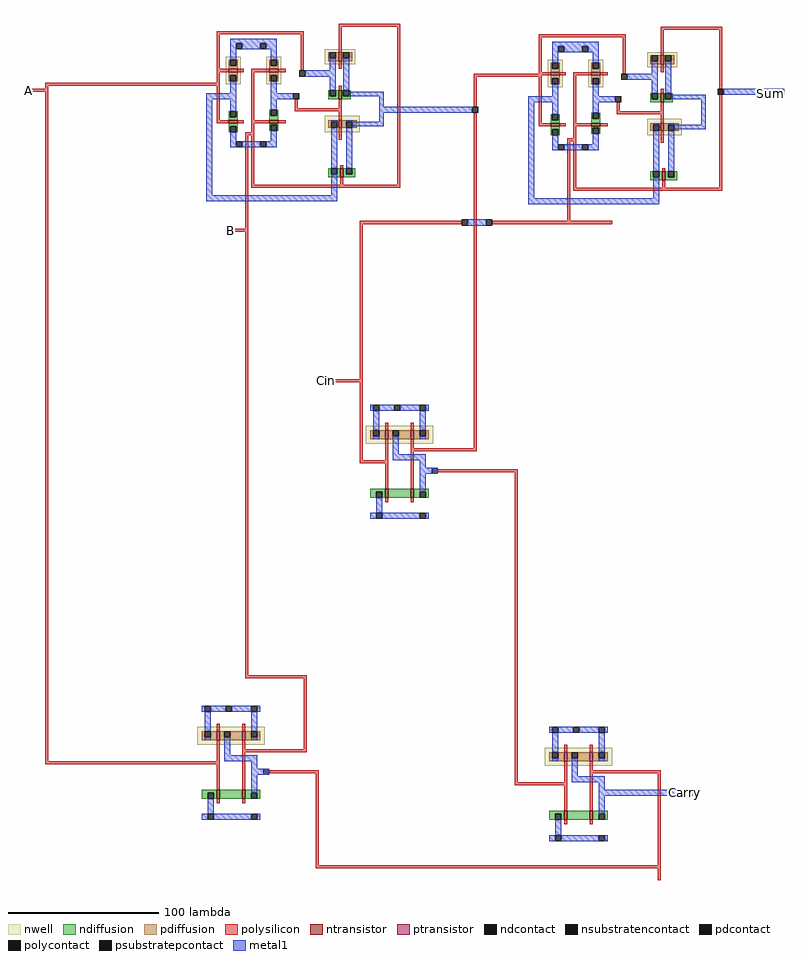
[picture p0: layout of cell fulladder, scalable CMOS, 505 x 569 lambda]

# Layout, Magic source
magic
tech scmos
<< polysilicon >>
rect 157 70 202 72
rect -128 64 -12 66
rect -128 62 -126 64
rect -142 60 -126 62
rect -128 -385 -126 60
rect 157 50 159 70
rect 5 31 11 33
rect 5 -31 7 31
rect -8 -33 7 -31
rect 5 -328 7 -33
rect 81 -28 149 -26
rect 81 -131 83 -28
rect 58 -133 83 -131
rect 81 -185 83 -133
rect 157 -177 159 46
rect 219 27 225 29
rect 219 -26 221 27
rect 169 -28 249 -26
rect 126 -179 159 -177
rect 81 -187 90 -185
rect 133 -193 186 -191
rect 5 -330 46 -328
rect 44 -377 46 -330
rect 12 -379 46 -377
rect -128 -387 -12 -385
rect 21 -393 54 -391
rect 52 -454 54 -393
rect 184 -399 186 -193
rect 243 -393 281 -391
rect 184 -401 212 -399
rect 279 -454 281 -393
rect 52 -456 281 -454
rect 279 -464 281 -456
<< metal1 >>
rect 323 58 363 62
rect 96 49 156 50
rect 94 46 156 49
rect 153 -29 165 -25
rect 249 -408 307 -404
<< polycontact >>
rect 319 58 323 62
rect 156 46 160 50
rect 149 -29 153 -25
rect 165 -29 169 -25
rect 129 -194 133 -190
rect 17 -394 21 -390
use xor1  xor1_0
transform 1 0 12 0 1 67
box -33 -80 96 38
use xor1  xor1_1
transform 1 0 226 0 1 65
box -33 -80 96 38
use nand1  nand1_0
transform 1 0 106 0 1 -183
box -21 -41 27 35
use nand1  nand1_1
transform 1 0 -6 0 1 -383
box -21 -41 27 35
use nand1  nand1_2
transform 1 0 225 0 1 -397
box -21 -41 27 35
<< labels >>
rlabel polysilicon 59 -132 59 -132 1 Cin
rlabel polysilicon -139 61 -139 61 3 A
rlabel polysilicon -5 -32 -5 -32 1 B
rlabel metal1 354 59 354 59 1 Sum
rlabel metal1 297 -406 297 -406 1 Carry
<< end >>

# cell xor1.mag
magic
tech scmos
<< nwell >>
rect -20 -2 -10 16
rect 7 -2 17 16
rect 46 11 66 21
rect 46 -34 69 -23
<< polysilicon >>
rect 55 36 96 38
rect -26 31 32 33
rect -26 8 -24 31
rect -26 6 -18 8
rect -12 6 -8 8
rect -3 6 9 8
rect 15 6 20 8
rect 30 7 32 31
rect 55 19 57 36
rect 55 8 57 13
rect -26 -26 -24 6
rect -3 -26 -1 6
rect 55 -6 57 -3
rect 26 -18 28 -12
rect 55 -18 57 -12
rect 26 -20 57 -18
rect 55 -26 57 -20
rect -26 -28 -18 -26
rect -12 -28 -8 -26
rect -3 -28 9 -26
rect 15 -28 20 -26
rect -3 -69 -1 -28
rect 55 -39 57 -31
rect 56 -58 58 -56
rect 56 -69 58 -64
rect 94 -69 96 36
rect -3 -71 96 -69
<< ndiffusion >>
rect -18 -24 -17 -20
rect -13 -24 -12 -20
rect -18 -26 -12 -24
rect 48 -10 49 -6
rect 53 -10 55 -6
rect 48 -12 55 -10
rect 57 -10 58 -6
rect 62 -10 63 -6
rect 57 -12 63 -10
rect 9 -23 10 -19
rect 14 -23 15 -19
rect 9 -26 15 -23
rect -18 -30 -12 -28
rect -18 -34 -17 -30
rect -13 -34 -12 -30
rect 9 -29 15 -28
rect 9 -33 10 -29
rect 14 -33 15 -29
rect 48 -62 50 -58
rect 54 -62 56 -58
rect 48 -64 56 -62
rect 58 -62 60 -58
rect 64 -62 66 -58
rect 58 -64 66 -62
<< pdiffusion >>
rect -18 10 -17 14
rect -13 10 -12 14
rect -18 8 -12 10
rect 9 10 10 14
rect 14 10 15 14
rect 9 8 15 10
rect 48 15 49 19
rect 53 15 55 19
rect 48 13 55 15
rect 57 15 58 19
rect 62 15 64 19
rect 57 13 64 15
rect -18 4 -12 6
rect -18 0 -17 4
rect -13 0 -12 4
rect 9 4 15 6
rect 9 0 10 4
rect 14 0 15 4
rect 48 -27 55 -26
rect 48 -31 50 -27
rect 54 -31 55 -27
rect 57 -27 67 -26
rect 57 -31 60 -27
rect 64 -31 67 -27
<< metal1 >>
rect -17 25 14 28
rect -17 14 -13 25
rect -9 21 3 25
rect 7 21 14 25
rect 10 14 14 21
rect 49 7 53 15
rect -17 -8 -13 0
rect -33 -12 -13 -8
rect -33 -76 -29 -12
rect -17 -20 -13 -12
rect 33 3 53 7
rect 10 -8 14 0
rect 49 -6 53 3
rect 10 -12 25 -8
rect 58 -6 62 15
rect 62 -10 85 -7
rect 10 -19 14 -12
rect 50 -27 54 -26
rect -17 -44 -13 -34
rect 10 -40 14 -33
rect -9 -44 3 -40
rect 7 -44 14 -40
rect 50 -58 54 -31
rect 60 -27 64 -26
rect 82 -27 85 -10
rect 64 -30 85 -27
rect 60 -58 64 -31
rect 50 -76 54 -62
rect -33 -80 54 -76
<< ntransistor >>
rect 55 -12 57 -6
rect -18 -28 -12 -26
rect 9 -28 15 -26
rect 56 -64 58 -58
<< ptransistor >>
rect -18 6 -12 8
rect 9 6 15 8
rect 55 13 57 19
rect 55 -31 57 -26
<< polycontact >>
rect 29 3 33 7
rect 25 -12 29 -8
<< ndcontact >>
rect -17 -24 -13 -20
rect 49 -10 53 -6
rect 58 -10 62 -6
rect 10 -23 14 -19
rect -17 -34 -13 -30
rect 10 -33 14 -29
rect 50 -62 54 -58
rect 60 -62 64 -58
<< pdcontact >>
rect -17 10 -13 14
rect 10 10 14 14
rect 49 15 53 19
rect 58 15 62 19
rect -17 0 -13 4
rect 10 0 14 4
rect 50 -31 54 -27
rect 60 -31 64 -27
<< psubstratepcontact >>
rect -13 -44 -9 -40
rect 3 -44 7 -40
<< nsubstratencontact >>
rect -13 21 -9 25
rect 3 21 7 25
<< labels >>
rlabel polysilicon -25 -4 -25 -4 1 A
rlabel polysilicon -2 -5 -2 -5 1 B
rlabel metal1 84 -18 84 -18 1 Vo
rlabel metal1 -5 -42 -5 -42 1 gnd
rlabel metal1 -3 27 -3 27 1 VDD
<< end >>

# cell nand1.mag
magic
tech scmos
<< nwell >>
rect -21 9 24 21
<< polysilicon >>
rect -8 18 -6 23
rect 9 18 11 23
rect -8 -2 -6 12
rect -17 -4 -6 -2
rect -8 -21 -6 -4
rect 9 6 11 12
rect 9 4 20 6
rect 9 -21 11 4
rect -8 -30 -6 -27
rect 9 -30 11 -27
<< ndiffusion >>
rect -18 -23 -8 -21
rect -18 -27 -14 -23
rect -10 -27 -8 -23
rect -6 -27 9 -21
rect 11 -23 21 -21
rect 11 -27 15 -23
rect 19 -27 21 -23
<< pdiffusion >>
rect -18 14 -16 18
rect -12 14 -8 18
rect -18 12 -8 14
rect -6 14 -3 18
rect 1 14 9 18
rect -6 12 9 14
rect 11 14 15 18
rect 19 14 21 18
rect 11 12 21 14
<< metal1 >>
rect -18 31 -16 35
rect -12 31 -2 35
rect 2 31 15 35
rect 19 31 21 35
rect -16 18 -12 31
rect 15 18 19 31
rect -16 12 -12 14
rect -3 2 1 14
rect 15 12 19 14
rect -3 -2 19 2
rect 15 -7 19 -2
rect 15 -11 27 -7
rect 15 -23 19 -11
rect -14 -37 -10 -27
rect -18 -41 -14 -37
rect -10 -41 15 -37
rect 19 -41 21 -37
<< ntransistor >>
rect -8 -27 -6 -21
rect 9 -27 11 -21
<< ptransistor >>
rect -8 12 -6 18
rect 9 12 11 18
<< ndcontact >>
rect -14 -27 -10 -23
rect 15 -27 19 -23
<< pdcontact >>
rect -16 14 -12 18
rect -3 14 1 18
rect 15 14 19 18
<< psubstratepcontact >>
rect -14 -41 -10 -37
rect 15 -41 19 -37
<< nsubstratencontact >>
rect -16 31 -12 35
rect -2 31 2 35
rect 15 31 19 35
<< labels >>
rlabel metal1 23 -9 23 -9 7 vout
rlabel polysilicon -16 -3 -16 -3 3 A
rlabel polysilicon 16 5 16 5 1 B
rlabel metal1 6 33 6 33 5 VDD
rlabel metal1 1 -39 1 -39 1 gnd
<< end >>
